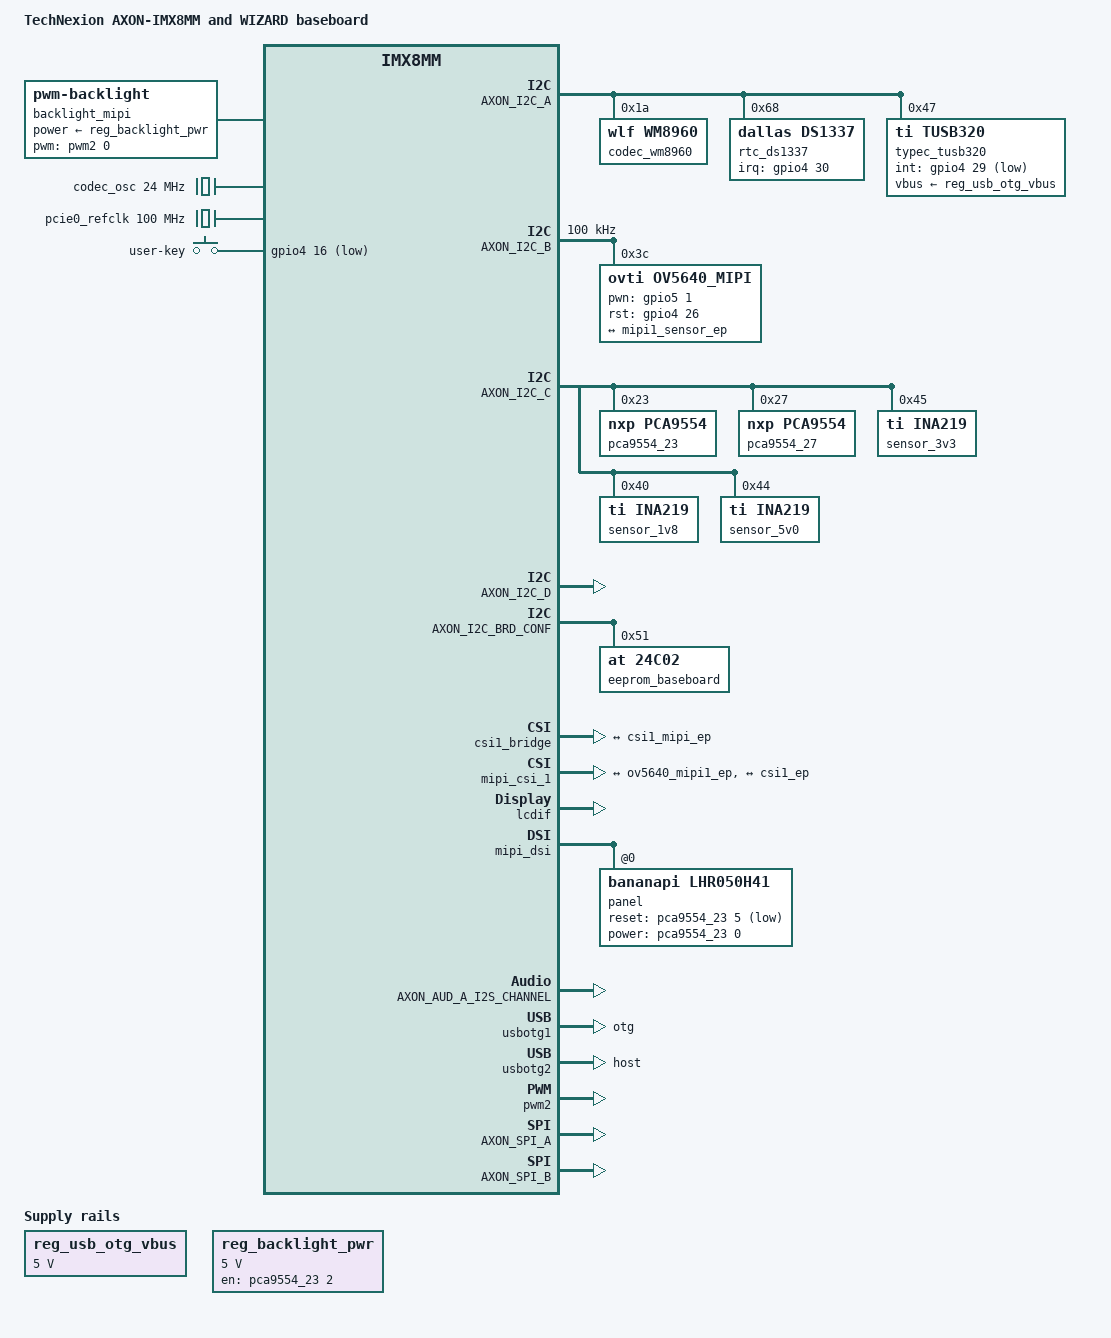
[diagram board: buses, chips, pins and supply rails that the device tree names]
/* * Copyright 2019 Technexion Ltd.
 * Copyright 2018 NXP
 *
 * Author: Richard Hu <richard.hu@technexion.com>
 *         John Weber <john.weber@technexion.com>
 *
 * This program is free software; you can redistribute it and/or
 * modify it under the terms of the GNU General Public License
 * as published by the Free Software Foundation; either version 2
 * of the License, or (at your option) any later version.
 *
 * This program is distributed in the hope that it will be useful,
 * but WITHOUT ANY WARRANTY; without even the implied warranty of
 * MERCHANTABILITY or FITNESS FOR A PARTICULAR PURPOSE.  See the
 * GNU General Public License for more details.
 */

/dts-v1/;

#include "imx8mm-axon.dtsi"

/ {
	model = "TechNexion AXON-IMX8MM and WIZARD baseboard";
	compatible = "fsl,imx8mm-axon", "fsl,imx8mm";

	reserved-memory {
		#address-cells = <2>;
		#size-cells = <2>;
		ranges;

		rpmsg_reserved: rpmsg@0xb8000000 {
			no-map;
			reg = <0 0xb8000000 0 0x400000>;
		};
	};

	regulators {
		reg_usb_otg_vbus: usb_otg_vbus {
			pinctrl-names = "default";
			pinctrl-0 = <&pinctrl_otg_vbus>;
			compatible = "regulator-fixed";
			regulator-name = "usb_otg_vbus";
			regulator-min-microvolt = <5000000>;
			regulator-max-microvolt = <5000000>;
			gpio = <AXON_EXT_GPIO_X1_P66 GPIO_ACTIVE_LOW>;
			enable-active-low;
		};

		reg_backlight_pwr: regulator_blpwr {
			pinctrl-names = "default";
			compatible = "regulator-fixed";
			regulator-name = "backlight_pwr";
			regulator-min-microvolt = <5000000>;
			regulator-max-microvolt = <5000000>;
			gpio = <&pca9554_23 2 GPIO_ACTIVE_HIGH>;
			enable-active-high;
		};
	};

	backlight_mipi {
		compatible = "pwm-backlight";
		pwms = <&pwm2 0 50000 0>;
		brightness-levels = <0 36 72 108 144 180 216 255>;
		default-brightness-level = <7>;
		power-supply = <&reg_backlight_pwr>;
		status = "okay";
	};

	sound_wm8960: sound-wm8960 {
		compatible = "simple-audio-card";
		simple-audio-card,name = "axon-pi-wm8690-audio";
		simple-audio-card,format = "i2s";
		simple-audio-card,bitclock-master = <&dailink_master>;
		simple-audio-card,frame-master = <&dailink_master>;
		simple-audio-card,widgets =
			"Microphone", "Mic Jack",
			"Speaker", "Speaker",
			"Headphone", "Headphone Jack";
		simple-audio-card,routing =
			"Headphone Jack", "HP_L",
			"Headphone Jack", "HP_R",
			"Speaker", "SPK_LP",
			"Speaker", "SPK_LN",
			"Speaker", "SPK_RP",
			"Speaker", "SPK_RN",
			"LINPUT1", "Mic Jack",
			"Mic Jack", "MICB";
		simple-audio-card,cpu {
			sound-dai = <&sai1>;
		};

		dailink_master: simple-audio-card,codec {
			sound-dai = <&codec_wm8960>;
			clocks = <&codec_osc>;
		};
	};

	clocks {
		codec_osc: aud_mclk {
			compatible = "fixed-clock";
			#clock-cells = <0>;
			clock-frequency = <24000000>;
			clock-output-names = "wm8960-mclk";
		};
	};

	pcie0_refclk: pcie0-refclk {
		compatible = "fixed-clock";
		#clock-cells = <0>;
		clock-frequency = <100000000>;
	};

	user_keys {
		compatible = "gpio-keys";
		pinctrl-names = "default";
		pinctrl-0 = <&pinctrl_user_key>;

		keys {
			gpios = <&gpio4 16 GPIO_ACTIVE_LOW>;
			label = "user-key";
			linux,code = <EV_KEY>;
		};
	};
};

&clk {
	assigned-clocks = <&clk IMX8MM_AUDIO_PLL1>, <&clk IMX8MM_AUDIO_PLL2>;
	assigned-clock-rates = <786432000>, <722534400>;
};

&iomuxc {
	imx8mm-axon {

		pinctrl_user_key: userkeygrp {
			fsl,pins = <
				MX8MM_IOMUXC_SAI1_TXD4_GPIO4_IO16		0x41   /* USER KEY */
			>;
		};

		pinctrl_otg_vbus: otgvbusgrp {
			fsl,pins = <
				MX8MM_IOMUXC_SAI1_TXD1_GPIO4_IO13		0x19   /* USB OTG VBUS Enable */
			>;
		};

		pinctrl_backlight_pwr: backlight_pwrgrp {
			fsl,pins = <
				MX8MM_IOMUXC_SAI1_MCLK_GPIO4_IO20		0x19   /* GPIO_SPARE_1 / SAI1_MCLK */
			>;
		};

		pinctrl_dsi_pwm: dsi_pwm {
			fsl,pins = <
				MX8MM_IOMUXC_SPDIF_RX_PWM2_OUT		0x16	/* DSI PWM */
			>;
		};

		pinctrl_tusb320_irq: tusb320_irqgrp {
			fsl,pins = <
				MX8MM_IOMUXC_SAI3_RXC_GPIO4_IO29		0x41    /* UART_B_CTS */
			>;
		};

		pinctrl_csi_pwn: csi_pwn_grp {
			fsl,pins = <
				MX8MM_IOMUXC_SAI3_TXD_GPIO5_IO1		       0x19  /* GPIO_X3_P67 */
			>;
		};

		pinctrl_csi_rst: csi_rst_grp {
			fsl,pins = <
				MX8MM_IOMUXC_SAI2_TXD0_GPIO4_IO26		    0x19  /* GPIO_X3_P65 */
				MX8MM_IOMUXC_GPIO1_IO14_CCMSRCGPCMIX_CLKO1	0x59  /* GPIO_X3_P69 */
			>;
		};

		pinctrl_mipi_dsi_rst: mipi_dsi_rst {
			fsl,pins = <
				MX8MM_IOMUXC_SPDIF_RX_GPIO5_IO4	    0x16   /* PWM2 / DSI RST */
			>;
		};

		pinctrl_ft5336_touch_irq: ft5336_irqgrp {
			fsl,pins = <
				MX8MM_IOMUXC_SAI1_RXD7_GPIO4_IO9	0x19   /* GPIO_X2_P20, Touch INT */
			>;
		};

	};
};

&pinmux_axonfabric {
	pinctrl_af_pcie0_out: pcpcie_out {
		pins = "F_GPIO_X3_P71"; function = "passthru_out";
		drive-push-pull;
	};

	pinctrl_af_user_led: pcuserled {
		pins = "F_GPIO_X1_P70"; function = "gpio"; drive-push-pull;
	};

	pinctrl_af_user_pb: pcuserpb {
		pins = "F_GPIO_X1_P72"; function = "passthru_in"; drive-push-pull;
	};

	pinctrl_af_otg_vbus_en: pcotgvbusen {
		pins = "F_GPIO_X1_P66"; function = "passthru_out"; drive-push-pull;
	};

	pinctrl_af_tusb320_irq: pctusb320irq {
		pins = "F_UART_B_CTS"; function = "passthru_in"; drive-push-pull;
	};

	pinctrl_af_csi_ctrl: pccsictrl {
		pins = "F_GPIO_X3_P65", "F_GPIO_X3_P67";
		function = "passthru_out";
		drive-push-pull;
	};

	pinctrl_af_csi_clk: pccsiclk {
		pins = "F_GPIO_X3_P69"; function = "passthru_out"; drive-push-pull;
	};

	pinctrl_af_ft5336_irq: pcft5336irq {
		pins = "F_GPIO_X2_P20"; function = "passthru_in"; drive-push-pull;
	};

	pinctrl_af_dsi_irq: pcdsiirq{
		pins = "F_GPIO_X2_P18"; function = "passthru_in"; drive-push-pull;
	};

	pinctrl_af_disp_gpio: pcdispgpio {
		pins = "F_DISP_DAT00", "F_DISP_DAT01", "F_DISP_DAT02", "F_DISP_DAT03",
		"F_DISP_DAT04", "F_DISP_DAT05", "F_DISP_DAT06", "F_DISP_DAT07",
		"F_DISP_DAT08", "F_DISP_DAT09", "F_DISP_DAT10", "F_DISP_DAT11",
		"F_DISP_DAT12", "F_DISP_DAT13", "F_DISP_DAT14", "F_DISP_DAT15",
		"F_DISP_DAT16", "F_DISP_DAT17", "F_DISP_DAT18", "F_DISP_DAT19",
		"F_DISP_DAT20", "F_DISP_DAT21", "F_DISP_DAT22", "F_DISP_DAT23",
		"F_DISP_HSYNC", "F_DISP_VSYNC", "F_DISP_CLK", "F_DISP_BKLEN",
		"F_DISP_DRDY";
		function = "gpio"; drive-push-pull;
	};

	// PWM
	pinctrl_af_pwm_x1_x2: pcafpwmx1x2 {
		pins = "F_PWM_X1_P39", "F_PWM_X2_P79";
		function = "passthru_out"; drive-push-pull;
	};

	// Audio A
	pinctrl_af_aud_a_out: pcafauda_out {
		pins = "F_AUD_A_TXD"; function = "passthru_out"; drive-push-pull;
	};

	pinctrl_af_aud_a_in: pcafauda_in {
		pins = "F_AUD_A_RXD", "F_AUD_A_TXFS", "F_AUD_A_TXCLK";
		function = "passthru_in"; drive-push-pull;
	};

	// Audio B - use as GPIO
	pinctrl_af_aud_b_gpio: pcafaudb_gpio {
		pins = "F_AUD_B_TXD", "F_AUD_B_RXD", "F_AUD_B_TXFS", "F_AUD_B_TXCLK",
		"F_AUD_B_RXFS", "F_AUD_B_RXCLK", "F_AUD_B_MCLK" ;
		function = "gpio"; drive-push-pull;
	};

	// CAN_A/B - use as GPIO
	pinctrl_af_can_gpio: pcafcan_gpio {
		pins = "F_CAN_A_TX", "F_CAN_A_RX", "F_CAN_B_TX", "F_CAN_B_RX";
		function = "gpio"; drive-push-pull;
	};

	// UART_A RTS and CTS - use as GPIO
	pinctrl_af_uart_a_rtscts: pcafuartartscts {
		pins = "F_UART_A_RTS", "F_UART_A_CTS"; function="gpio";
		drive-push-pull;
	};

	// UART_B_RTS - use as RTC DS1337+ interrupt
	pinctrl_af_ds1337_rtc_irq: pcafds1337rtcirq {
		pins = "F_UART_B_RTS"; function="passthru_in";
		drive-push-pull;
	};
};

&AXON_I2C_A {  // I2C_A
	status = "okay";

	codec_wm8960: wm8960@1a {
		compatible = "wlf,wm8960";
		reg = <0x1a>;
		#sound-dai-cells = <0>;
		clocks = <&codec_osc>;  /* Note:  AXON-PI the clock is external osc */
		clock-names = "mclk";
		wlf,shared-lrclk;
		wlf,fixed-mclk;
	};

	rtc_ds1337: ds1337@68 {
		compatible = "dallas,ds1337";
		reg = <0x68>;
		wakeup-source;
		interrupt-parent = <&gpio4>;
		interrupts = <30 0>;
	};

	typec_tusb320:tusb320@47 {
		compatible = "ti,tusb320";
		pinctrl-names = "default";
		pinctrl-0 = <&pinctrl_tusb320_irq>;
		reg = <0x47>;
		vbus-supply = <&reg_usb_otg_vbus>;
		tusb320,int-gpio = <&gpio4 29 GPIO_ACTIVE_LOW>;
		tusb320,select-mode = <0>;
		tusb320,dfp-power = <0>;
	};
};

&AXON_I2C_B {  // I2C_B
	status = "okay";
	clock-frequency = <100000>;

	ov5640_mipi: ov5640_mipi@3c {
		compatible = "ovti,ov5640_mipi";
		reg = <0x3c>;
		status = "okay";
		pinctrl-names = "default";
		pinctrl-0 = <&pinctrl_csi_pwn>, <&pinctrl_csi_rst>;
		clocks = <&clk IMX8MM_CLK_CLKO1>;
		clock-names = "csi_mclk";
		assigned-clocks = <&clk IMX8MM_CLK_CLKO1>;
		assigned-clock-parents = <&clk IMX8MM_CLK_24M>;
		assigned-clock-rates = <0>, <24000000>;
		csi_id = <0>;
		pwn-gpios = <&gpio5 1 GPIO_ACTIVE_HIGH>;
		rst-gpios = <&gpio4 26 GPIO_ACTIVE_HIGH>;
		mclk = <24000000>;
		mclk_source = <0>;
		port {
			ov5640_mipi1_ep: endpoint {
				remote-endpoint = <&mipi1_sensor_ep>;
			};
		};
	};
};

&AXON_I2C_C {  // I2C_C
	status = "okay";

	pca9554_23: pca9554_23@23 {
		compatible = "nxp,pca9554";
		pinctrl-names = "default";
		reg = <0x23>;
		gpio-controller;
		#gpio-cells = <2>;
		status = "okay";
	};

	pca9554_27: pca9554_27@27 {
		compatible = "nxp,pca9554";
		pinctrl-names = "default";
		reg = <0x27>;
		gpio-controller;
		#gpio-cells = <2>;
		status = "okay";
	};

	/* Power monitor for 3.3V SOM output supply */
	sensor_3v3:ina219_3v3@45 {
		compatible = "ti,ina219";
		reg = <0x45>;
		shunt-resistor = <200000>; /* .2 Ohm resistor = 200000 uOhms*/
	};

	/* Power monitor for 1.8V SOM output supply */
	sensor_1v8:ina219_1v8@40 {
		compatible = "ti,ina219";
		reg = <0x40>;
		shunt-resistor = <200000>; /* .2 Ohm resistor = 200000 uOhms*/
	};

	/* Power monitor for 5V SOM input supply */
	sensor_5v0:ina219_5v0@44 {
		compatible = "ti,ina219";
		reg = <0x44>;
		shunt-resistor = <200000>; /* .2 Ohm resistor = 200000 uOhms*/
	};
};

&AXON_I2C_D {
	status = "okay";
};

&AXON_I2C_BRD_CONF {

	eeprom_baseboard: eeprom@51 {
		compatible = "at,24c02";
		reg = <0x51>;
	};
};

&csi1_bridge {
	fsl,mipi-mode;
	status = "okay";
	port {
		csi1_ep: endpoint {
			remote-endpoint = <&csi1_mipi_ep>;
		};
	};
};

&mipi_csi_1 {
	#address-cells = <1>;
	#size-cells = <0>;
	status = "okay";
	port {
		mipi1_sensor_ep: endpoint@1 {
			remote-endpoint = <&ov5640_mipi1_ep>;
			data-lanes = <2>;
			csis-hs-settle = <13>;
			csis-clk-settle = <2>;
			csis-wclk;
		};

		csi1_mipi_ep: endpoint@2 {
			remote-endpoint = <&csi1_ep>;
		};
	};
};

&lcdif {
	status = "okay";
};

&mipi_dsi {
	status = "okay";

	panel@0 {
		compatible = "bananapi,lhr050h41", "ilitek,ili9881c";
		reset-gpio = <&pca9554_23 5 GPIO_ACTIVE_LOW>;
		power-gpio = <&pca9554_23 0 GPIO_ACTIVE_HIGH>;
		reg = <0>;
		timing-mode = <0>;
		video-mode = <2>;
		/* 0: burst mode
		 * 1: non-burst mode with sync event
		 * 2: non-burst mode with sync pulse
		*/
		status = "okay";
	};
};

&AXON_AUD_A_I2S_CHANNEL {  // AUD_A
	status = "okay";
};

&pcie0{
	pinctrl-names = "default";
	pinctrl-0 = <&pinctrl_pcie0>;
	clkreq-gpio = <&gpio4 28 GPIO_ACTIVE_LOW>;
	disable-gpio = <&gpio5 28 GPIO_ACTIVE_LOW>;
	reset-gpio = <&gpio5 29 GPIO_ACTIVE_LOW>;
	ext_osc = <1>;
	clocks = <&clk IMX8MM_CLK_PCIE1_ROOT>,
			<&clk IMX8MM_CLK_PCIE1_AUX>,
			<&clk IMX8MM_CLK_PCIE1_PHY>,
			<&pcie0_refclk>;
	clock-names = "pcie", "pcie_aux", "pcie_phy", "pcie_bus";
	reserved-region = <&rpmsg_reserved>;
	status = "disabled";
};

&usbotg1 {
	dr_mode = "otg";
	extcon = <0>, <&typec_tusb320>;
	status = "okay";
};

&usbotg2 {
	dr_mode = "host";
	status = "okay";
};

&pwm2 {
	pinctrl-names = "default";
	pinctrl-0 = <&pinctrl_dsi_pwm>;
	status = "okay";
};

&AXON_SPI_A {
	status = "okay";
};

&AXON_SPI_B {
	status = "okay";
};
